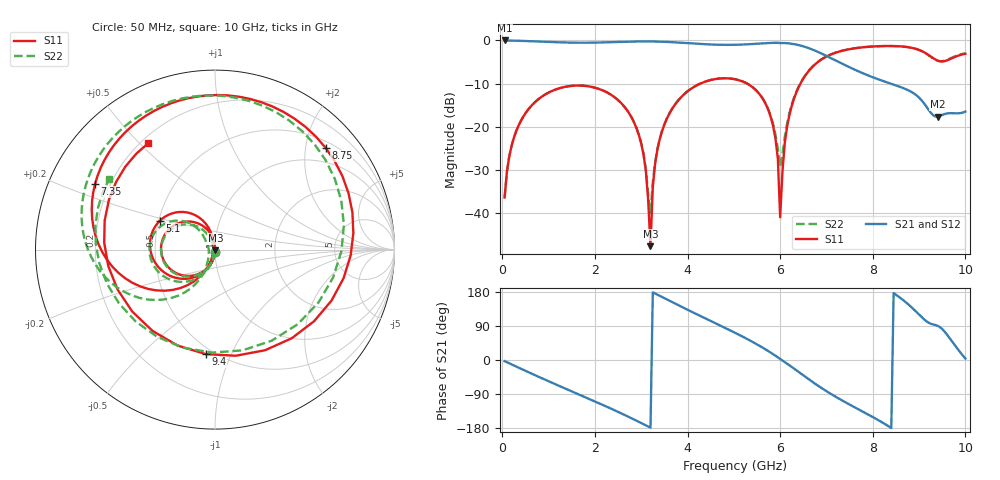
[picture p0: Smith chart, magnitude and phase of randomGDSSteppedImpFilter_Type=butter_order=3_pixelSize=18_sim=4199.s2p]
! freq	dB(S11)	phase(S11)	dB(S12)	phase(S12)
!  dB(S21)	phase(S21)	dB(S22)	phase(S22)
!S-par simulation data
#  GHz  S  DB  R 50
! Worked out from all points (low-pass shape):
!   200 points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, 50 MHz to 10 GHz, reference 50 ohm
!   highest |S21| = 0.00 dB at 50 MHz (marker M1); lowest = -17.6 dB at 9.4 GHz (marker M2)
!   |S21| within 3 dB of the highest: start of sweep to 6.887 GHz
!   lowest |S11| = -47.6 dB at 3.2 GHz (marker M3), VSWR 1.01, Z = 50.2 - j0.375 ohm
!   |S11| at or under -10 dB: start of sweep to 4.275 GHz; 5.286 GHz to 6.438 GHz (1.153 GHz wide, 19.7 % of centre)
!   |S22| runs from -39.8 to -1.3 dB; largest |S21 - S12| = 0
!   S11 on the Smith chart (normalised r, x): 50 MHz: 1.00, -0.03; 5.1 GHz: 0.51, +0.18; 7.35 GHz: 0.14, +0.25; 8.75 GHz: 0.64, +2.42; 9.4 GHz: 0.46, -0.81; 10 GHz: 0.23, +0.53
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0.05  -36.38 -92.8  -0.00 -2.9  -0.00 -2.9  -36.38 -92.7
0.5  -16.87 -119.5  -0.13 -28.6  -0.13 -28.6  -16.87 -118.5
1.75  -10.48 171.9  -0.52 -95.9  -0.52 -95.9  -10.49 175.5
2.85  -19.09 109.4  -0.26 -157.3  -0.26 -157.3  -19.09 118.8
3.1  -30.16 93.4  -0.23 -172.3  -0.23 -172.3  -29.91 116.1
3.2  -47.64 -64.2  -0.24 -178.4  -0.24 -178.4  -39.85 -156.8
3.25  -33.91 -93.3  -0.24 178.5  -0.24 178.5  -32.91 -114.1
3.4  -22.85 -103.8  -0.28 169.3  -0.28 169.3  -22.73 -105.6
5.05  -9.05 155.8  -1.00 70.4  -1.00 70.4  -9.03 166.6
5.1  -9.19 152.7  -0.99 67.3  -0.99 67.3  -9.17 163.8
5.8  -17.84 106.5  -0.57 19.2  -0.57 19.2  -17.58 129.2
5.95  -27.35 101.2  -0.55 7.1  -0.55 7.1  -25.02 144.0
6  -40.95 113.8  -0.60 3.0  -0.60 3.0  -29.24 174.5
6.2  -17.24 -115.8  -0.70 -14.0  -0.70 -14.0  -16.79 -116.0
6.7  -6.09 -158.1  -2.12 -58.1  -2.12 -58.1  -6.03 -147.4
7.35  -2.36 151.2  -5.44 -107.6  -5.44 -107.6  -2.34 166.7
8.35  -1.29 80.9  -9.87 -175.5  -9.87 -175.5  -1.29 102.3
8.75  -1.54 42.6  -11.45 148.6  -11.45 148.6  -1.54 66.0
9.15  -2.99 -23.7  -15.19 103.0  -15.19 103.0  -3.04 -0.6
9.4  -4.66 -95.0  -17.63 90.3  -17.63 90.3  -4.71 -74.8
9.65  -4.41 -171.2  -16.85 59.4  -16.85 59.4  -4.25 -150.8
10  -3.10 122.0  -16.47 3.6  -16.47 3.6  -2.99 146.3
